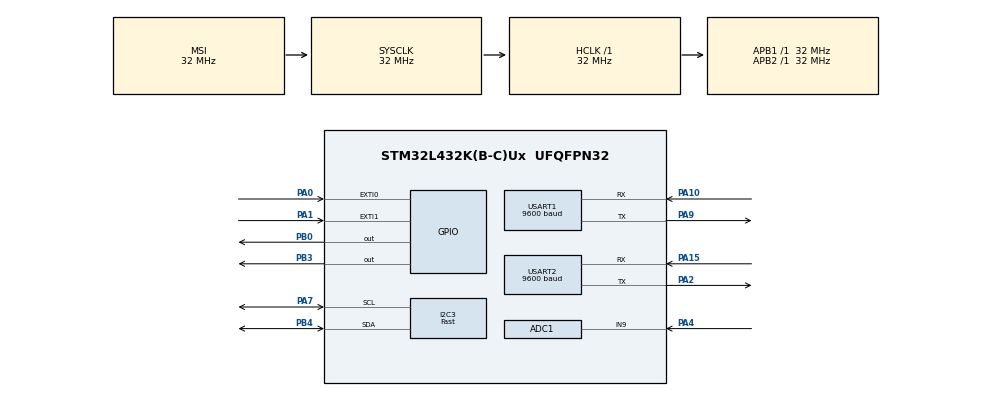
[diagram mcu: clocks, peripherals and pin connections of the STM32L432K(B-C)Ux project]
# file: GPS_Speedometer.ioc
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ADC1.Channel-0\#ChannelRegularConversion=ADC_CHANNEL_9
ADC1.NbrOfConversionFlag=1
ADC1.OffsetNumber-0\#ChannelRegularConversion=ADC_OFFSET_NONE
ADC1.Rank-0\#ChannelRegularConversion=1
ADC1.Resolution=ADC_RESOLUTION_8B
ADC1.SamplingTime-0\#ChannelRegularConversion=ADC_SAMPLETIME_2CYCLES_5
ADC1.master=1
I2C3.I2C_Speed_Mode=I2C_Fast
I2C3.Timing=0x00300F38
Mcu.Family=STM32L4
Mcu.Name=STM32L432K(B-C)Ux
Mcu.Package=UFQFPN32
NVIC.EXTI0_IRQn=true\:0\:0\:false\:false\:true\:true\:true\:true
NVIC.EXTI1_IRQn=true\:0\:0\:false\:false\:true\:true\:true\:true
NVIC.PriorityGroup=NVIC_PRIORITYGROUP_4
NVIC.TIM1_UP_TIM16_IRQn=true\:0\:0\:true\:false\:true\:true\:true\:true
NVIC.TIM6_DAC_IRQn=true\:0\:0\:true\:false\:true\:true\:true\:true
NVIC.USART1_IRQn=true\:0\:0\:false\:false\:true\:true\:true\:true
PA0.GPIO_ModeDefaultEXTI=GPIO_MODE_IT_FALLING
PA0.GPIO_PuPd=GPIO_PULLUP
PA0.Signal=GPXTI0
PA1.GPIO_ModeDefaultEXTI=GPIO_MODE_IT_FALLING
PA1.GPIO_PuPd=GPIO_PULLUP
PA1.Signal=GPXTI1
PA10.Mode=Asynchronous
PA10.Signal=USART1_RX
PA15\ (JTDI).Mode=Asynchronous
PA15\ (JTDI).Signal=USART2_RX
PA2.Mode=Asynchronous
PA2.Signal=USART2_TX
PA4.Signal=ADCx_IN9
PA7.Mode=I2C
PA7.Signal=I2C3_SCL
PA9.Mode=Asynchronous
PA9.Signal=USART1_TX
PB0.Signal=GPIO_Output
PB3\ (JTDO-TRACESWO).Signal=GPIO_Output
PB4\ (NJTRST).Mode=I2C
PB4\ (NJTRST).Signal=I2C3_SDA
ProjectManager.HeapSize=0x200
ProjectManager.StackSize=0x400
ProjectManager.TargetToolchain=STM32CubeIDE
RCC.ADCFreq_Value=64000000
RCC.AHBFreq_Value=32000000
RCC.APB1Freq_Value=32000000
RCC.APB1TimFreq_Value=32000000
RCC.APB2Freq_Value=32000000
RCC.APB2TimFreq_Value=32000000
RCC.CortexFreq_Value=32000000
RCC.FLatency-AdvancedSettings=FLASH_LATENCY_1
RCC.HCLKFreq_Value=32000000
RCC.HSE_VALUE=8000000
RCC.HSI48_VALUE=48000000
RCC.HSI_VALUE=16000000
RCC.LSE_VALUE=32768
RCC.MSIClockRange=RCC_MSIRANGE_10
RCC.MSI_VALUE=32000000
RCC.PLLM=4
RCC.PLLN=20
RCC.PLLSAI1N=16
RCC.SYSCLKFreq_VALUE=32000000
RCC.USART1CLockSelection=RCC_USART1CLKSOURCE_HSI
RCC.USBFreq_Value=64000000
RCC.VCOOutputFreq_Value=160000000
SH.ADCx_IN9.0=ADC1_IN9,IN9-Single-Ended
TIM16.Period=199
TIM16.Prescaler=31999
TIM6.Period=54
TIM6.Prescaler=31999
USART1.BaudRate=9600
USART1.VirtualMode-Asynchronous=VM_ASYNC
USART2.BaudRate=9600
USART2.VirtualMode-Asynchronous=VM_ASYNC
VP_TIM16_VS_ClockSourceINT.Mode=Enable_Timer
VP_TIM6_VS_ClockSourceINT.Mode=Enable_Timer
board=custom

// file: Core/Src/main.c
/* USER CODE BEGIN Header */
/**
  ******************************************************************************
  * @file           : main.c
  * @brief          : Main program body
  ******************************************************************************
  * @attention
  *
  * Copyright (c) 2022 STMicroelectronics.
  * All rights reserved.
  *
  * This software is licensed under terms that can be found in the LICENSE file
  * in the root directory of this software component.
  * If no LICENSE file comes with this software, it is provided AS-IS.
  *
  ******************************************************************************
  */
/* USER CODE END Header */
#include "main.h"
#include "adc.h"
#include "i2c.h"
#include "tim.h"
#include "usart.h"
#include "gpio.h"

/* USER CODE BEGIN Includes */
#include "stdio.h" //potreban za sscanf, itoa, printf funkcije
#include "ssd1306.h"
#include "fonts.h"
/* USER CODE END Includes */

/* USER CODE BEGIN PD */
#define _DEBUG //ispis na serial 2 prema potrebi
#define NL_Char '\n' //potrebno za prepoznati kraj poruke
/* USER CODE END PD */

/* USER CODE BEGIN PV */
uint8_t GPSbuffer[82] = {0}; //za spemanje podataka s GPSa u buffer
uint8_t buffer_index = 0;
uint8_t setspeed = 50, speedkmh = 0; //zadana brzina i brzina
uint32_t current = 0, previous = 0; //za koristenje internog brojaca
uint8_t BzCnt, Buzz = 0; //zujalica
char strSetSpeed[4], strSpeed[4]; //stringovi za ispis brzine i limita brzine
uint8_t	newdata = 0; //provjera jesu li stigli novi podatci na UART1
uint8_t br = 255; //parametar za osvjetljenje
uint8_t hud = 0;
uint8_t turned = 0;
uint8_t HUDon[2] = {0x00, 0xC8};
uint8_t HUDoff[2] = {0x00, 0xC0};

//Varijable za spremanje podataka iscitanih s GPSa
char time[11];
char status;
float latitude;
char lat_dir;
float longitude;
char lon_dir;
float speedknts;
float course;
char date[7];
/* USER CODE END PV */

void SystemClock_Config(void);
/* USER CODE BEGIN PFP */
#ifdef __GNUC__
#define PUTCHAR_PROTOTYPE int __io_putchar(int ch)
#else
#define PUTCHAR_PROTOTYPE int fputc(int ch, FILE *f)
#endif

PUTCHAR_PROTOTYPE
{
  HAL_UART_Transmit(&huart2, (uint8_t *)&ch, 1, HAL_MAX_DELAY);
  return ch;
}
/* USER CODE END PFP */

int main(void)
{

  /* MCU Configuration--------------------------------------------------------*/

  /* Reset of all peripherals, Initializes the Flash interface and the Systick. */
  HAL_Init();

  /* Configure the system clock */
  SystemClock_Config();

  /* Initialize all configured peripherals */
  MX_GPIO_Init();
  MX_USART1_UART_Init();
  MX_TIM16_Init();
  MX_USART2_UART_Init();
  MX_TIM6_Init();
  MX_I2C3_Init();
  MX_ADC1_Init();
  /* USER CODE BEGIN 2 */
  HAL_UART_Receive_IT(&huart1, &GPSbuffer[buffer_index], 1); //pokrece UART interrupt, potrebno staviti prije inicijalizacije ekrana inace ne radi
  ssd1306_Init(&hi2c3);	//inicijalizacija OLED ekrana na I2C3
  HAL_TIM_Base_Start_IT(&htim16); //pokretanje timera 16 sa interrupt funkcijom za zujalicu
  previous = HAL_GetTick(); //za delay bez zaustavljanja procesora (umjesto interrupta)
  /* USER CODE END 2 */

  /* Infinite loop */
  /* USER CODE BEGIN WHILE */

  void setbrightness(uint8_t setbr){
  	  uint8_t contrast[3] = {0x00, 0x81, setbr};
  	  HAL_I2C_Master_Transmit(&hi2c3, SSD1306_I2C_ADDR, contrast, 3, 20); //preko I2C na mem. polje 0x00 saljemo 2 bita za osvjetljenje
  }

   while (1)
  {
	   if(newdata == 1){ //primili smo poruku koja zavrsava na /n
		   sscanf(&GPSbuffer, "$GNRMC,%10s,%c,%f,%c,%f,%c,%f,%f,%6s",
				   time, &status, &latitude, &lat_dir, &longitude, &lon_dir, &speedknts, &course, date); //pretvara string u varijable
		   speedkmh = speedknts*1.852; //cvorovi u km/h i float->int
		   HAL_GPIO_TogglePin(GPIOB, GPIO_PIN_3);
		   if(hud == 0){ //ako ekran nije zrcaljen
			   HAL_ADC_Start(&hadc1);
			   HAL_ADC_PollForConversion(&hadc1, HAL_MAX_DELAY);
			   br = HAL_ADC_GetValue(&hadc1); //iscitaj osvjetljenje
			   if(br < 10){
				   br=10;
			   }
		   	   setbrightness(br); // podesi jacinu svjetla
		   }
		   newdata = 0; //primili smo podatke, ne ocitavaj vise do novih podataka
		#ifdef _DEBUG //ispis podataka s GPSa po potrebi
		   printf("Time: %s  ", time);
		   printf("Status: %c  ", status);
		   printf("Latitude: %f %c  ", latitude, lat_dir);
		   printf("Longitude: %f %c  ", longitude, lon_dir);
		   printf("Speed: %i  ", speedkmh);
		   printf("Date: %s ", date);
		   printf("Light: %d ", br);
		   printf("SetSpeed: %i\r\n", setspeed);
		   printf("%s \r\n", GPSbuffer);
		#endif
	   }

	   itoa(setspeed, strSetSpeed, 10); // int -> char - zbog ispisa na OLED
	   if(hud == 0 && turned == 1){
		   HAL_I2C_Master_Transmit(&hi2c3, SSD1306_I2C_ADDR, HUDon, 2, 10); //preko I2C saljemo 0xC0 poruku za normalan ekran
	   }else if(hud == 1 && turned == 1){
		   HAL_I2C_Master_Transmit(&hi2c3, SSD1306_I2C_ADDR, HUDoff, 2, 10); //preko I2C saljemo 0xC8 poruku za normalan ekran
		   setbrightness(255);
	   }
	   turned = 0;

	   if(status == 'A'){ //ako primamo ispravne poruke i GPS signal
		   if(speedkmh > setspeed+5 && setspeed != 0){ //ako je brzina za 5 veca od dozvoljene aktiviraj zujalicu (3 beepa)
			   Buzz = 1;
		   }
		   if(speedkmh < setspeed-5){ //ako brzina padne ispod  dozvoljenje - 5 resetiraj zujalicu i dozvoli ponovno bipanje
			   BzCnt = 0;
			   Buzz = 0;
		   }
		  //Ispis na ekran
		   ssd1306_Fill(Black);
		   ssd1306_SetCursor(0, 5);
		   ssd1306_WriteString("Brzina:", Font_11x18, White);
		   itoa(speedkmh, strSpeed, 10); //int -> string
		   ssd1306_WriteString(strSpeed, Font_16x26, White);

		   ssd1306_SetCursor(0, 36);
		   ssd1306_WriteString("Limit: ", Font_11x18, White);
		   ssd1306_WriteString(strSetSpeed, Font_16x26, White);
		   ssd1306_UpdateScreen(&hi2c3);

	   }else{ //ako nema GPS signala

		   current = HAL_GetTick(); //trenutno vrijeme
		   speedknts = 0;
		   Buzz = 0; //iskljucenje zujalice za svaki slucaj
		   HAL_GPIO_WritePin(GPIOB, GPIO_PIN_0, 0); //u slucaju da izgubimo GPS signal u trenutku zvucne signalizacije da ne ostane ukljucena
		   if (current - previous < 800) { //interni brojac, koristimo umjesto timera i delaya, ako nije prošlo 800ms prikaži "Cekam satelite"
			   ssd1306_SetCursor(35, 0);
			   ssd1306_WriteString("Cekam", Font_11x18, White);
			   ssd1306_SetCursor(32, 20);
			   ssd1306_WriteString("signal", Font_11x18, White);
			   ssd1306_SetCursor(5, 45);
			   ssd1306_WriteString("Limit:", Font_11x18, White);
			   ssd1306_WriteString(strSetSpeed, Font_11x18, White);
			   ssd1306_UpdateScreen(&hi2c3);
		   }else if(current - previous < 1000){ //između 800 i 1000 ms
			   ssd1306_Fill(Black);
			   ssd1306_SetCursor(5, 45);
			   ssd1306_WriteString("Limit:", Font_11x18, White);
			   ssd1306_WriteString(strSetSpeed, Font_11x18, White);
			   ssd1306_UpdateScreen(&hi2c3);
		   }else{
			   previous = HAL_GetTick(); //ako je prošlo 1000 ms, updejtaj previous na trenutno stanje internog brojaca
		   }
	   }
    /* USER CODE END WHILE */

  }
}

void SystemClock_Config(void)
{
  RCC_OscInitTypeDef RCC_OscInitStruct = {0};
  RCC_ClkInitTypeDef RCC_ClkInitStruct = {0};

  /** Configure the main internal regulator output voltage
  */
  if (HAL_PWREx_ControlVoltageScaling(PWR_REGULATOR_VOLTAGE_SCALE1) != HAL_OK)
  {
    Error_Handler();
  }

  /** Initializes the RCC Oscillators according to the specified parameters
  * in the RCC_OscInitTypeDef structure.
  */
  RCC_OscInitStruct.OscillatorType = RCC_OSCILLATORTYPE_HSI|RCC_OSCILLATORTYPE_MSI;
  RCC_OscInitStruct.HSIState = RCC_HSI_ON;
  RCC_OscInitStruct.HSICalibrationValue = RCC_HSICALIBRATION_DEFAULT;
  RCC_OscInitStruct.MSIState = RCC_MSI_ON;
  RCC_OscInitStruct.MSICalibrationValue = 0;
  RCC_OscInitStruct.MSIClockRange = RCC_MSIRANGE_10;
  RCC_OscInitStruct.PLL.PLLState = RCC_PLL_NONE;
  if (HAL_RCC_OscConfig(&RCC_OscInitStruct) != HAL_OK)
  {
    Error_Handler();
  }

  /** Initializes the CPU, AHB and APB buses clocks
  */
  RCC_ClkInitStruct.ClockType = RCC_CLOCKTYPE_HCLK|RCC_CLOCKTYPE_SYSCLK
                              |RCC_CLOCKTYPE_PCLK1|RCC_CLOCKTYPE_PCLK2;
  RCC_ClkInitStruct.SYSCLKSource = RCC_SYSCLKSOURCE_MSI;
  RCC_ClkInitStruct.AHBCLKDivider = RCC_SYSCLK_DIV1;
  RCC_ClkInitStruct.APB1CLKDivider = RCC_HCLK_DIV1;
  RCC_ClkInitStruct.APB2CLKDivider = RCC_HCLK_DIV1;

  if (HAL_RCC_ClockConfig(&RCC_ClkInitStruct, FLASH_LATENCY_1) != HAL_OK)
  {
    Error_Handler();
  }
}

/* USER CODE BEGIN 4 */
//UART interrupt funkcija
void HAL_UART_RxCpltCallback(UART_HandleTypeDef *huart) //primljen je novi znak
{
	if (GPSbuffer[buffer_index] == NL_Char){ //ako je primljen new line simbol
		newdata = 1; //primili smo cijelu re�?enicu
		buffer_index = 0; //resetiraj poziciju indexa
	}else{ // digni index za 1 za iduci znak
		buffer_index++;
	}
	HAL_UART_Receive_IT(&huart1, &GPSbuffer[buffer_index], 1); //pononvo pokreni interrupt
}

//interrupt funkcija kod pritiska tipke
void HAL_GPIO_EXTI_Callback(uint16_t GPIO_Pin)
{
	if ((GPIO_Pin == GPIO_PIN_0 || GPIO_Pin == GPIO_PIN_1)){ //ako je okinut jedan od interrupta
		HAL_TIM_Base_Start_IT(&htim6); //pokrece timer 55ms
	}

}

//Interrupt funkcija za timer koja se pozove kada timer odbroji
void HAL_TIM_PeriodElapsedCallback(TIM_HandleTypeDef *htim)
{
	if (htim == &htim16 ){ //provjera koji timer je okinuo -> za zujalicu, 3 beepa
		if(BzCnt < 6 && Buzz == 1){
			HAL_GPIO_TogglePin(GPIOB, GPIO_PIN_0);
			BzCnt++;
		}
		if (BzCnt > 5 || Buzz == 0){
			Buzz = 0;
			HAL_GPIO_WritePin(GPIOB, GPIO_PIN_0, 0); //u slucaju da zbog necega izade iz gornje petlje dok je zujalica aktivna
		}
	}
	if (htim == &htim6 ){ //provjera koji timer je okinuo -> timer 6, 55ms za debouncing
		if(HAL_GPIO_ReadPin(GPIOA, GPIO_PIN_1) == 0 && HAL_GPIO_ReadPin(GPIOA, GPIO_PIN_0) == 1){ //stisnuta samo tipka 1
			setspeed = setspeed + 5; //povecaj limit za 5
			if(setspeed > 250){setspeed = 250;} //ako je brzina veca, limitiraj na 250
		}
		if(HAL_GPIO_ReadPin(GPIOA, GPIO_PIN_0) == 0 && HAL_GPIO_ReadPin(GPIOA, GPIO_PIN_1) == 1){ //stisnuta samo tipka 2
			if(setspeed < 5){
				setspeed = 0; //ako je brzina manja od 5, vrati na 0
			}else{
				setspeed = setspeed - 5;
			}
		}
		if(HAL_GPIO_ReadPin(GPIOA, GPIO_PIN_1) == 0 && HAL_GPIO_ReadPin(GPIOA, GPIO_PIN_0) == 0){ //stisnute obje tipke
			if(hud == 0){
				hud = 1;
			}else if(hud == 1){
				hud = 0;
			}
			turned = 1;
		}
		HAL_TIM_Base_Stop_IT(&htim6); //zaustavi timer
	}
}

/* USER CODE END 4 */

void Error_Handler(void)
{
  __disable_irq();
  while (1)
  {
  }
}
